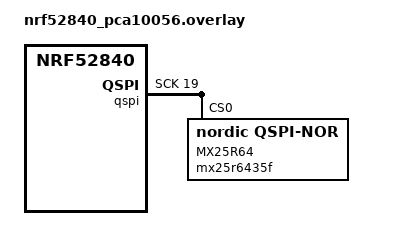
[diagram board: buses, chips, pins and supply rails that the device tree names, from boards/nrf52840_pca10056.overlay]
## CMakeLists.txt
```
# SPDX-License-Identifier: Apache-2.0

cmake_minimum_required(VERSION 3.13.1)
include($ENV{ZEPHYR_BASE}/cmake/app/boilerplate.cmake NO_POLICY_SCOPE)
project(spi_flash)

FILE(GLOB app_sources src/*.c)
FILE(GLOB app_sources src/rpmsg/*.c)
target_sources(app PRIVATE ${app_sources})
```

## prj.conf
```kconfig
CONFIG_STDOUT_CONSOLE=y
CONFIG_FLASH=y
CONFIG_QSPI=y
CONFIG_POLL=y
#CONFIG_SPI=y
```

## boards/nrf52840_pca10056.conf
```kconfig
#
# Copyright (c) 2019 Peter Bigot Consulting, LLC
#
# SPDX-License-Identifier: Apache-2.0
#
# Disable the flash interface for SPI2 which is incomplete once the
# flash node is deleted from devicetree.
CONFIG_SPI_2=n
CONFIG_SPI_NOR=n
CONFIG_QSPI_NOR=y
```

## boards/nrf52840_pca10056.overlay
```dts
&spi2 {
	status = "disabled";
};

/delete-node/ &mx25r64;

&qspi {
	status = "okay";
	sck-pin = <19>;
	io-pins = <20>, <21>, <22>, <23>;
	csn-pins = <17>;
	mx25r64: mx25r6435f@0 {
		compatible = "nordic,qspi-nor";
		reg = <0>;
		writeoc = "pp4io";
		readoc = "read4io";
		sck-frequency = <1000000>;
		label = "MX25R64";
		jedec-id = [c2 28 17];
		size = <67108864>;
		has-dpd;
		t-enter-dpd = <10000>;
		t-exit-dpd = <35000>;
	};
};
```

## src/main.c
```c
/*
 * Copyright (c) 2016 Intel Corporation.
 *
 * SPDX-License-Identifier: Apache-2.0
 */

#include <zephyr.h>
#include <drivers/flash.h>
#include <device.h>
#include <stdio.h>
#include <string.h>

#if (CONFIG_SPI_FLASH_W25QXXDV - 0)
/* NB: W25Q16DV is a JEDEC spi-nor device, but has a separate driver. */
#define FLASH_DEVICE CONFIG_SPI_FLASH_W25QXXDV_DRV_NAME
#define FLASH_NAME "W25QXXDV"
#elif (CONFIG_SPI_NOR - 0) || defined(DT_INST_0_JEDEC_SPI_NOR_LABEL)
#define FLASH_DEVICE DT_INST_0_JEDEC_SPI_NOR_LABEL
#define FLASH_NAME "JEDEC SPI-NOR"
#elif (CONFIG_QSPI_NOR - 0) || defined(DT_INST_0_NORDIC_QSPI_NOR_LABEL)
#define FLASH_DEVICE DT_INST_0_NORDIC_QSPI_NOR_LABEL
#define FLASH_NAME "JEDEC QSPI-NOR"
#else
#error Unsupported flash driver
#endif

#define FLASH_TEST_REGION_OFFSET 0xff000
#define FLASH_SECTOR_SIZE        4096
#define TEST_DATA_BYTE_0         0x55
#define TEST_DATA_BYTE_1         0xaa
#define TEST_DATA_BYTE_2         0x55
#define TEST_DATA_BYTE_3         0xaa
#define TEST_DATA_LEN            4

void main(void)
{
	struct device *flash_dev;
	u8_t buf[TEST_DATA_LEN];

	printf("\n" FLASH_NAME " SPI flash testing\n");
	printf("==========================\n");

	flash_dev = device_get_binding(FLASH_DEVICE);

	if (!flash_dev) {
		printf("SPI flash driver %s was not found!\n", FLASH_DEVICE);
		return;
	}

	/* Write protection needs to be disabled before each write or
	 * erase, since the flash component turns on write protection
	 * automatically after completion of write and erase
	 * operations.
	 */
	printf("\nTest 1: Flash erase\n");
	flash_write_protection_set(flash_dev, false);
	if (flash_erase(flash_dev,
			FLASH_TEST_REGION_OFFSET,
			FLASH_SECTOR_SIZE) != 0) {
		printf("   Flash erase failed!\n");
	} else {
		printf("   Flash erase succeeded!\n");
	}

	printf("\nTest 2: Flash write\n");
	flash_write_protection_set(flash_dev, false);

	buf[0] = TEST_DATA_BYTE_0;
	buf[1] = TEST_DATA_BYTE_1;
	buf[2] = TEST_DATA_BYTE_2;
	buf[3] = TEST_DATA_BYTE_3;
	printf("   Attempted to write %x %x %x %x\n",
	       buf[0], buf[1], buf[2], buf[3]);
	if (flash_write(flash_dev, FLASH_TEST_REGION_OFFSET, buf,
			TEST_DATA_LEN) != 0) {
		printf("   Flash write failed!\n");
		return;
	}

	memset(buf, 0, TEST_DATA_LEN);

	if (flash_read(flash_dev, FLASH_TEST_REGION_OFFSET, buf,
		       TEST_DATA_LEN) != 0) {
		printf("   Flash read failed!\n");
		return;
	}

	printf("   Data read %x %x %x %x\n", buf[0], buf[1], buf[2], buf[3]);

	if ((buf[0] == TEST_DATA_BYTE_0) && (buf[1] == TEST_DATA_BYTE_1) &&
	    (buf[2] == TEST_DATA_BYTE_2) && (buf[3] == TEST_DATA_BYTE_3)) {
		printf("   Data read matches with data written. Good!!\n");
	} else {
		printf("   Data read does not match with data written!!\n");
	}
}
```
